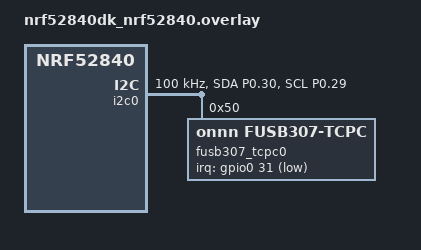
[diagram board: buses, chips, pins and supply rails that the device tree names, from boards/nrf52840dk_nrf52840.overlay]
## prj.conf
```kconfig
CONFIG_USBC_STACK=y
CONFIG_USBC_CSM_SINK_ONLY=y
CONFIG_USBC_THREAD_PRIORITY=10
CONFIG_ADC=n
CONFIG_LOG=y
CONFIG_BUILD_OUTPUT_VIF=y
```

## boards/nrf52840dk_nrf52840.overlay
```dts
/* SPDX-License-Identifier: Apache-2.0 */

#include <dt-bindings/usb-c/pd.h>

/ {
	aliases {
		usbc-port0 = &port0;
	};

	ports {
		#address-cells = <1>;
		#size-cells = <0>;
		port0: usbc-port@0 {
			compatible = "usb-c-connector";
			reg = <0>;
			tcpc = <&fusb307_tcpc0>;
			vbus = <&fusb307_vbus0>;
			power-role = "sink";
			sink-pdos = <PDO_FIXED(12000, 1000, 0)>;
		};
	};
};

&pinctrl {

	i2c0_default: i2c0_default {
		group1 {
			psels = <NRF_PSEL(TWIM_SDA, 0, 30)>,
					<NRF_PSEL(TWIM_SCL, 0, 29)>;
			bias-pull-up;
		};
	};

	i2c0_sleep: i2c0_sleep {
		group1 {
			psels = <NRF_PSEL(TWIM_SDA, 0, 30)>,
					<NRF_PSEL(TWIM_SCL, 0, 29)>;
			low-power-enable;
		};
	};
};

&i2c0 {
	compatible = "nordic,nrf-twim";
	status = "okay";
	pinctrl-0 = <&i2c0_default>;
	pinctrl-1 = <&i2c0_sleep>;
	pinctrl-names = "default", "sleep";
	clock-frequency = <100000>;
	fusb307_tcpc0: fusb307_tcpc0@50 {
		compatible = "onnn,fusb307-tcpc";
		reg = <0x50>;
		irq-gpios = <&gpio0 31 GPIO_ACTIVE_LOW>;
		status = "okay";
		fusb307_vbus0: fusb307_vbus0 {
			compatible = "zephyr,usb-c-vbus-tcpci";
			status = "okay";
		};
	};
};
```

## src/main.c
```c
/*
 * Copyright (c) 2022 The Chromium OS Authors.
 *
 * SPDX-License-Identifier: Apache-2.0
 */

#include <zephyr/kernel.h>
#include <zephyr/device.h>
#include <zephyr/devicetree.h>
#include <zephyr/usb_c/usbc.h>

#include <zephyr/logging/log.h>
LOG_MODULE_REGISTER(main, LOG_LEVEL_DBG);

#define USBC_PORT0_NODE		DT_ALIAS(usbc_port0)
#define USBC_PORT0_POWER_ROLE	DT_ENUM_IDX(USBC_PORT0_NODE, power_role)

#if (USBC_PORT0_POWER_ROLE != TC_ROLE_SINK)
#error "Unsupported board: Only Sink device supported"
#endif

#define SINK_PDO(node_id, prop, idx)	(DT_PROP_BY_IDX(node_id, prop, idx)),

/* usbc.rst port data object start */
/**
 * @brief A structure that encapsulates Port data.
 */
static struct port0_data_t {
	/** Sink Capabilities */
	uint32_t snk_caps[DT_PROP_LEN(USBC_PORT0_NODE, sink_pdos)];
	/** Number of Sink Capabilities */
	int snk_cap_cnt;
	/** Source Capabilities */
	uint32_t src_caps[PDO_MAX_DATA_OBJECTS];
	/** Number of Source Capabilities */
	int src_cap_cnt;
	/* Power Supply Ready flag */
	atomic_t ps_ready;
} port0_data = {
	.snk_caps = {DT_FOREACH_PROP_ELEM(USBC_PORT0_NODE, sink_pdos, SINK_PDO)},
	.snk_cap_cnt = DT_PROP_LEN(USBC_PORT0_NODE, sink_pdos),
	.src_caps = {0},
	.src_cap_cnt = 0,
	.ps_ready = 0
};

/* usbc.rst port data object end */

/**
 * @brief Builds a Request Data Object (RDO) with the following properties:
 *		- Maximum operating current 100mA
 *		- Operating current is 100mA
 *		- Unchunked Extended Messages Not Supported
 *		- No USB Suspend
 *		- Not USB Communications Capable
 *		- No capability mismatch
 *		- Does not Giveback
 *		- Select object position 1 (5V Power Data Object (PDO))
 *
 * @note Generally a sink application would build an RDO from the
 *	 Source Capabilities stored in the dpm_data object
 */
static uint32_t build_rdo(uint32_t object_pos, uint32_t current)
{
	union pd_rdo rdo;

	rdo.fixed.min_or_max_operating_current = PD_CONVERT_MA_TO_FIXED_PDO_CURRENT(current);
	rdo.fixed.operating_current = PD_CONVERT_MA_TO_FIXED_PDO_CURRENT(current);
	rdo.fixed.unchunked_ext_msg_supported = 0;
	rdo.fixed.no_usb_suspend = 1;
	rdo.fixed.usb_comm_capable = 0;
	rdo.fixed.cap_mismatch = 0;
	rdo.fixed.giveback = 0;
	rdo.fixed.object_pos = object_pos + 1;

	return rdo.raw_value;
}

static uint32_t build_ardo(uint32_t object_pos, uint32_t voltage, uint32_t current)
{
	union pd_rdo rdo;

	rdo.augmented.operating_current = PD_CONVERT_MA_TO_AUGMENTED_PDO_CURRENT(current);
	rdo.augmented.output_voltage = PD_CONVERT_MV_TO_AUGMENTED_PDO_VOLTAGE(voltage);
	rdo.augmented.object_pos = object_pos + 1;
	rdo.augmented.cap_mismatch = 0;
	rdo.augmented.no_usb_suspend = 0;
	rdo.augmented.unchunked_ext_msg_supported = 0;
	rdo.augmented.usb_comm_capable = 0;

	//LOG_INF("ARDO = %08X", rdo.raw_value);

	return rdo.raw_value;
}

static void display_pdo(const int idx,
			const uint32_t pdo_value)
{
	union pd_fixed_supply_pdo_source pdo;

	/* Default to fixed supply pdo source until type is detected */
	pdo.raw_value = pdo_value;

	LOG_INF("PDO %d:", idx);
	switch (pdo.type) {
	case PDO_FIXED: {
		LOG_INF("\tType:              FIXED");
		LOG_INF("\tCurrent:           %d",
		       PD_CONVERT_FIXED_PDO_CURRENT_TO_MA(pdo.max_current));
		LOG_INF("\tVoltage:           %d",
		       PD_CONVERT_FIXED_PDO_VOLTAGE_TO_MV(pdo.voltage));
		LOG_INF("\tPeak Current:      %d", pdo.peak_current);
		LOG_INF("\tUchunked Support:  %d",
		       pdo.unchunked_ext_msg_supported);
		LOG_INF("\tDual Role Data:    %d",
		       pdo.dual_role_data);
		LOG_INF("\tUSB Comms:         %d",
		       pdo.usb_comms_capable);
		LOG_INF("\tUnconstrained Pwr: %d",
		       pdo.unconstrained_power);
		LOG_INF("\tUSB Suspend:       %d",
		       pdo.usb_suspend_supported);
		LOG_INF("\tDual Role Power:   %d",
		       pdo.dual_role_power);
	}
	break;
	case PDO_BATTERY: {
		union pd_battery_supply_pdo_source batt_pdo;

		batt_pdo.raw_value = pdo_value;
		LOG_INF("\tType:              BATTERY");
		LOG_INF("\tMin Voltage: %d",
			PD_CONVERT_BATTERY_PDO_VOLTAGE_TO_MV(batt_pdo.min_voltage));
		LOG_INF("\tMax Voltage: %d",
			PD_CONVERT_BATTERY_PDO_VOLTAGE_TO_MV(batt_pdo.max_voltage));
		LOG_INF("\tMax Power:   %d",
			PD_CONVERT_BATTERY_PDO_POWER_TO_MW(batt_pdo.max_power));
	}
	break;
	case PDO_VARIABLE: {
		union pd_variable_supply_pdo_source var_pdo;

		var_pdo.raw_value = pdo_value;
		LOG_INF("\tType:        VARIABLE");
		LOG_INF("\tMin Voltage: %d",
			PD_CONVERT_VARIABLE_PDO_VOLTAGE_TO_MV(var_pdo.min_voltage));
		LOG_INF("\tMax Voltage: %d",
			PD_CONVERT_VARIABLE_PDO_VOLTAGE_TO_MV(var_pdo.max_voltage));
		LOG_INF("\tMax Current: %d",
			PD_CONVERT_VARIABLE_PDO_CURRENT_TO_MA(var_pdo.max_current));
	}
	break;
	case PDO_AUGMENTED: {
		union pd_augmented_supply_pdo_source aug_pdo;

		aug_pdo.raw_value = pdo_value;
		LOG_INF("\tType:              AUGMENTED");
		LOG_INF("\tMin Voltage:       %d",
			PD_CONVERT_AUGMENTED_PDO_VOLTAGE_TO_MV(aug_pdo.min_voltage));
		LOG_INF("\tMax Voltage:       %d",
			PD_CONVERT_AUGMENTED_PDO_VOLTAGE_TO_MV(aug_pdo.max_voltage));
		LOG_INF("\tMax Current:       %d",
			PD_CONVERT_AUGMENTED_PDO_CURRENT_TO_MA(aug_pdo.max_current));
		LOG_INF("\tPPS Power Limited: %d", aug_pdo.pps_power_limited);
	}
	break;
	}
}

static void display_source_caps(const struct device *dev)
{
	struct port0_data_t *dpm_data = usbc_get_dpm_data(dev);

	LOG_INF("Source Caps:");
	for (int i = 0; i < dpm_data->src_cap_cnt; i++) {
		display_pdo(i, dpm_data->src_caps[i]);
		k_msleep(50);
	}
}

/* usbc.rst callbacks start */
static int port0_policy_cb_get_snk_cap(const struct device *dev,
					    uint32_t **pdos,
					    int *num_pdos)
{
	struct port0_data_t *dpm_data = usbc_get_dpm_data(dev);

	*pdos = dpm_data->snk_caps;
	*num_pdos = dpm_data->snk_cap_cnt;

	return 0;
}

static void port0_policy_cb_set_src_cap(const struct device *dev,
					     const uint32_t *pdos,
					     const int num_pdos)
{
	struct port0_data_t *dpm_data;
	int num;
	int i;

	dpm_data = usbc_get_dpm_data(dev);

	num = num_pdos;
	if (num > PDO_MAX_DATA_OBJECTS) {
		num = PDO_MAX_DATA_OBJECTS;
	}

	for (i = 0; i < num; i++) {
		dpm_data->src_caps[i] = *(pdos + i);
	}

	dpm_data->src_cap_cnt = num;
}

static uint32_t port0_policy_cb_get_rdo(const struct device *dev)
{
	struct port0_data_t *dpm_data = usbc_get_dpm_data(dev);
	union pd_fixed_supply_pdo_source pdo;
	union pd_fixed_supply_pdo_source snkpdo;

	// Basic/crude implemation of matching source capabilities from adapter with PDOs specified in the DT.
	// Only useful with single PDO specified in DT, and it doesn't try to obtain the maximum capability.

	LOG_INF("DeviceTree specifies %d Sink PDOs", dpm_data->snk_cap_cnt);
	for (int i = 0; i < dpm_data->snk_cap_cnt; i++) {
		pdo.raw_value = dpm_data->snk_caps[i];
		if (pdo.type == PDO_FIXED) {
			LOG_INF("%d: Fixed %dmV @ %dmA", i, PD_CONVERT_FIXED_PDO_VOLTAGE_TO_MV(pdo.voltage), PD_CONVERT_FIXED_PDO_CURRENT_TO_MA(pdo.max_current));
		}
	}

	LOG_INF("Source advertises %d PDOs", dpm_data->src_cap_cnt);
	for (int i = 0; i < dpm_data->src_cap_cnt; i++) {
		pdo.raw_value = dpm_data->src_caps[i];
		if (pdo.type == PDO_FIXED) {
			LOG_INF("%d: Fixed %dmV @ %dmA", i, PD_CONVERT_FIXED_PDO_VOLTAGE_TO_MV(pdo.voltage), PD_CONVERT_FIXED_PDO_CURRENT_TO_MA(pdo.max_current));
			
			for (int z = 0; z < dpm_data->snk_cap_cnt; z++) {
				snkpdo.raw_value = dpm_data->snk_caps[z];
				if (pdo.type == PDO_FIXED) {
					if ((pdo.voltage == snkpdo.voltage) & (pdo.max_current >= snkpdo.max_current)) {
						// Capability match
						return build_rdo(i, 1000);
					}
				}
			}
		}
		if (pdo.type == PDO_AUGMENTED) {
			union pd_augmented_supply_pdo_source aug_pdo;
			aug_pdo.raw_value = dpm_data->src_caps[i];
			LOG_INF("%d: PPS %d - %dmV @ %dmA", i, PD_CONVERT_AUGMENTED_PDO_VOLTAGE_TO_MV(aug_pdo.min_voltage), 
				PD_CONVERT_AUGMENTED_PDO_VOLTAGE_TO_MV(aug_pdo.max_voltage), PD_CONVERT_AUGMENTED_PDO_CURRENT_TO_MA(aug_pdo.max_current));
		}
	}

	// else return default fixed 5V PDO
	return build_rdo(0, 1000);
}
/* usbc.rst callbacks end */

/* usbc.rst notify start */
static void port0_notify(const struct device *dev,
			      const enum usbc_policy_notify_t policy_notify)
{
	struct port0_data_t *dpm_data = usbc_get_dpm_data(dev);

	switch (policy_notify) {
	case PROTOCOL_ERROR:
		break;
	case MSG_DISCARDED:
		break;
	case MSG_ACCEPT_RECEIVED:
		break;
	case MSG_REJECTED_RECEIVED:
		break;
	case MSG_NOT_SUPPORTED_RECEIVED:
		break;
	case TRANSITION_PS:
		atomic_set_bit(&dpm_data->ps_ready, 0);
		break;
	case PD_CONNECTED:
		break;
	case NOT_PD_CONNECTED:
		break;
	case POWER_CHANGE_0A0:
		LOG_INF("PWR 0A");
		break;
	case POWER_CHANGE_DEF:
		LOG_INF("PWR DEF");
		break;
	case POWER_CHANGE_1A5:
		LOG_INF("PWR 1A5");
		break;
	case POWER_CHANGE_3A0:
		LOG_INF("PWR 3A0");
		break;
	case DATA_ROLE_IS_UFP:
		break;
	case DATA_ROLE_IS_DFP:
		break;
	case PORT_PARTNER_NOT_RESPONSIVE:
		LOG_INF("Port Partner not PD Capable");
		break;
	case SNK_TRANSITION_TO_DEFAULT:
		break;
	case HARD_RESET_RECEIVED:
		break;
	case SENDER_RESPONSE_TIMEOUT:
		break;
	case SOURCE_CAPABILITIES_RECEIVED:
		break;
	}
}
/* usbc.rst notify end */

/* usbc.rst check start */
bool port0_policy_check(const struct device *dev,
			const enum usbc_policy_check_t policy_check)
{
	switch (policy_check) {
	case CHECK_POWER_ROLE_SWAP:
		/* Reject power role swaps */
		return false;
	case CHECK_DATA_ROLE_SWAP_TO_DFP:
		/* Reject data role swap to DFP */
		return false;
	case CHECK_DATA_ROLE_SWAP_TO_UFP:
		/* Accept data role swap to UFP */
		return true;
	case CHECK_SNK_AT_DEFAULT_LEVEL:
		/* This device is always at the default power level */
		return true;
	default:
		/* Reject all other policy checks */
		return false;

	}
}
/* usbc.rst check end */

int main(void)
{
	const struct device *usbc_port0;

	/* Get the device for this port */
	usbc_port0 = DEVICE_DT_GET(USBC_PORT0_NODE);
	if (!device_is_ready(usbc_port0)) {
		LOG_ERR("PORT0 device not ready");
		return 0;
	}

	/* usbc.rst register start */
	/* Register USB-C Callbacks */

	/* Register Policy Check callback */
	usbc_set_policy_cb_check(usbc_port0, port0_policy_check);
	/* Register Policy Notify callback */
	usbc_set_policy_cb_notify(usbc_port0, port0_notify);
	/* Register Policy Get Sink Capabilities callback */
	usbc_set_policy_cb_get_snk_cap(usbc_port0, port0_policy_cb_get_snk_cap);
	/* Register Policy Set Source Capabilities callback */
	usbc_set_policy_cb_set_src_cap(usbc_port0, port0_policy_cb_set_src_cap);
	/* Register Policy Get Request Data Object callback */
	usbc_set_policy_cb_get_rdo(usbc_port0, port0_policy_cb_get_rdo);
	/* usbc.rst register end */

	/* usbc.rst user data start */
	/* Set Application port data object. This object is passed to the policy callbacks */
	port0_data.ps_ready = ATOMIC_INIT(0);
	usbc_set_dpm_data(usbc_port0, &port0_data);
	/* usbc.rst user data end */

	/* usbc.rst usbc start */
	/* Start the USB-C Subsystem */
	usbc_start(usbc_port0);
	/* usbc.rst usbc end */

	while (1) {
		/* Perform Application Specific functions */
		if (atomic_test_and_clear_bit(&port0_data.ps_ready, 0)) {
			/* Display the Source Capabilities */
			display_source_caps(usbc_port0);
		}

		/* Arbitrary delay */
		k_msleep(1000);
	}
	return 0;
}
```
